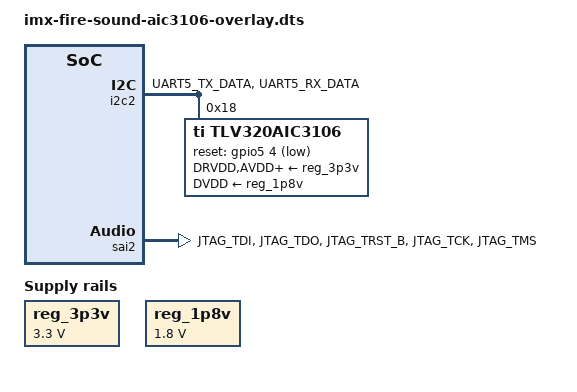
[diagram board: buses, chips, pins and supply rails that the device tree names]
/*
* Copyright (C) 2025 - All Rights Reserved by 
* filename : imx-fire-sound-aic3106-overlay.dts
* brief : Device Tree overlay for EBF6ull Pro tlv320aic3106 device
* author : embedfire
* date : 2025-02-18
* version : A001
*/
#include "../imx6ul-pinfunc.h"
#include "../imx6ull-pinfunc.h"
#include "dt-bindings/clock/imx6ul-clock.h"
#include "dt-bindings/interrupt-controller/irq.h"
#include "dt-bindings/gpio/gpio.h"

/dts-v1/;
/plugin/;

/ {
	fragment@1{
		target-path="/";
		__overlay__{
			reg_3p3v: regulator-3p3v {
				compatible = "regulator-fixed";
				regulator-name = "3P3V";
				regulator-min-microvolt = <3300000>;
				regulator-max-microvolt = <3300000>;
				regulator-always-on;
			};

			reg_1p8v: regulator-1p8v {
				compatible = "regulator-fixed";
				regulator-name = "1P8V";
				regulator-min-microvolt = <1800000>;
				regulator-max-microvolt = <1800000>;
				regulator-always-on;
			};
		};
	};

	fragment@2 {
		target = <&i2c2>;
		__overlay__ {
			clock_frequency = <100000>;
			pinctrl-names = "default";
			pinctrl-0 = <&pinctrl_i2c2>;
			#address-cells = <1>;
			#size-cells = <0>; 
			status = "okay";
	
			tlv320aic3106: codec@18 {
				compatible = "ti,tlv320aic3106";
				reg = <0x18>;
				clocks = <&clks IMX6UL_CLK_SAI2>;
				clock-names = "mclk";
				reset-gpios = <&gpio5 4 GPIO_ACTIVE_LOW>;
				#sound-dai-cells = <0>;
				adc-settle-ms = <40>;
				ai3x-micbias-vg = <2>;		/* 2.5V */
				
				DRVDD-supply = <&reg_3p3v>;
				AVDD-supply = <&reg_3p3v>;
				IOVDD-supply = <&reg_3p3v>;
				DVDD-supply = <&reg_1p8v>;

				status = "okay";
			};	      
		};
	};

	fragment@3{
		target-path="/";
		__overlay__{
		sound {
			compatible = "fsl,imx-audio-tlv320aic3x"; 
			model = "tlv320aic3x-audio"; 
			cpu-dai = <&sai2>; 
			audio-codec = <&tlv320aic3106>; 
			audio-routing = 
				/* Headphone connected to HPLOUT, HPROUT */ 
				"Headphone Jack",   "HPLOUT",
				"Headphone Jack",   "HPROUT",
				"Line Out Jack",	"LLOUT",
				"Line Out Jack",	"RLOUT",
				"Line In Jack",		"LINE2L", 
				"Line In Jack",		"LINE2R",
				"MIC3L",		"Mic Jack",
				"MIC3R",		"Mic Jack",
				"Mic Jack",		"Mic Bias";
			mux-int-port = <2>; 
			mux-ext-port = <3>; 
			status = "okay";
			};
		};
	};	

	fragment@4{
		target=<&iomuxc>;
		__overlay__ {
			pinctrl_i2c2: i2c2grp {
				fsl,pins = <
					MX6UL_PAD_UART5_TX_DATA__I2C2_SCL 0x4001b8b0
					MX6UL_PAD_UART5_RX_DATA__I2C2_SDA 0x4001b8b0
				>;
			};
			pinctrl_sai2: sai2grp {
				fsl,pins = <
					MX6UL_PAD_JTAG_TDI__SAI2_TX_BCLK	0x17088
					MX6UL_PAD_JTAG_TDO__SAI2_TX_SYNC	0x17088
					MX6UL_PAD_JTAG_TRST_B__SAI2_TX_DATA	0x11088
					MX6UL_PAD_JTAG_TCK__SAI2_RX_DATA	0x11088
					MX6UL_PAD_JTAG_TMS__SAI2_MCLK		0x17088
				>;
			};
		};
	};
	
	fragment@5 {
		target=<&sai2>;
		__overlay__{
			pinctrl-names = "default";
			pinctrl-0 = <&pinctrl_sai2>;
			assigned-clocks = <&clks IMX6UL_CLK_SAI2_SEL>,
			<&clks IMX6UL_CLK_SAI2>;
			assigned-clock-parents = <&clks IMX6UL_CLK_PLL4_AUDIO_DIV>;
			assigned-clock-rates = <0>, <12288000>;
			#sound-dai-cells = <0>;
			fsl,sai-mclk-direction-output;
			status = "okay";
		};
	};
};
